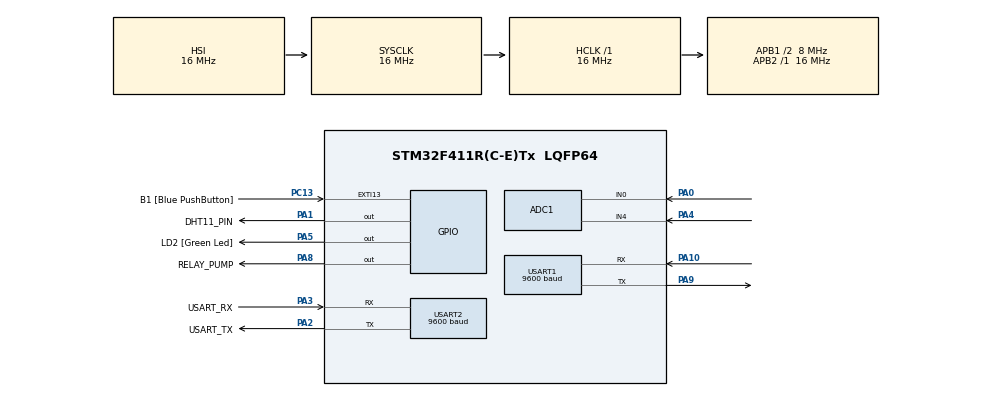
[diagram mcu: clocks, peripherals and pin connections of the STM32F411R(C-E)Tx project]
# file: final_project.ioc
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ADC1.Channel-0\#ChannelRegularConversion=ADC_CHANNEL_0
ADC1.NbrOfConversionFlag=1
ADC1.Rank-0\#ChannelRegularConversion=1
ADC1.SamplingTime-0\#ChannelRegularConversion=ADC_SAMPLETIME_3CYCLES
ADC1.master=1
Mcu.Family=STM32F4
Mcu.Name=STM32F411R(C-E)Tx
Mcu.Package=LQFP64
NVIC.PriorityGroup=NVIC_PRIORITYGROUP_0
PA0-WKUP.Signal=ADCx_IN0
PA1.GPIO_Label=DHT11_PIN
PA1.GPIO_ModeDefaultOutputPP=GPIO_MODE_OUTPUT_OD
PA1.GPIO_PuPd=GPIO_PULLUP
PA1.GPIO_Speed=GPIO_SPEED_FREQ_VERY_HIGH
PA1.PinState=GPIO_PIN_SET
PA1.Signal=GPIO_Output
PA10.Mode=Asynchronous
PA10.Signal=USART1_RX
PA13.GPIO_Label=TMS
PA13.Mode=Serial_Wire
PA13.Signal=SYS_JTMS-SWDIO
PA14.GPIO_Label=TCK
PA14.Mode=Serial_Wire
PA14.Signal=SYS_JTCK-SWCLK
PA2.GPIO_Label=USART_TX
PA2.Mode=Asynchronous
PA2.Signal=USART2_TX
PA3.GPIO_Label=USART_RX
PA3.Mode=Asynchronous
PA3.Signal=USART2_RX
PA4.Signal=ADCx_IN4
PA5.GPIO_Label=LD2 [Green Led]
PA5.Signal=GPIO_Output
PA8.GPIO_Label=RELAY_PUMP
PA8.Signal=GPIO_Output
PA9.Mode=Asynchronous
PA9.Signal=USART1_TX
PB3.GPIO_Label=SWO
PB3.Signal=SYS_JTDO-SWO
PC13-ANTI_TAMP.GPIO_Label=B1 [Blue PushButton]
PC13-ANTI_TAMP.GPIO_ModeDefaultEXTI=GPIO_MODE_IT_FALLING
PC13-ANTI_TAMP.Signal=GPXTI13
PC14-OSC32_IN.Mode=LSE-External-Oscillator
PC14-OSC32_IN.Signal=RCC_OSC32_IN
PC15-OSC32_OUT.Mode=LSE-External-Oscillator
PC15-OSC32_OUT.Signal=RCC_OSC32_OUT
PH0\ -\ OSC_IN.Signal=RCC_OSC_IN
PH1\ -\ OSC_OUT.Signal=RCC_OSC_OUT
ProjectManager.HeapSize=0x200
ProjectManager.StackSize=0x400
ProjectManager.TargetToolchain=STM32CubeIDE
RCC.48MHZClocksFreq_Value=42000000
RCC.AHBFreq_Value=16000000
RCC.APB1CLKDivider=RCC_HCLK_DIV2
RCC.APB1Freq_Value=8000000
RCC.APB1TimFreq_Value=16000000
RCC.APB2Freq_Value=16000000
RCC.APB2TimFreq_Value=16000000
RCC.CortexFreq_Value=16000000
RCC.FLatency-AdvancedSettings=FLASH_LATENCY_0
RCC.HCLKFreq_Value=16000000
RCC.HSE_VALUE=8000000
RCC.HSI_VALUE=16000000
RCC.PLLM=8
RCC.PLLN=84
RCC.SYSCLKFreq_VALUE=16000000
RCC.VCOOutputFreq_Value=168000000
SH.ADCx_IN0.0=ADC1_IN0,IN0
SH.ADCx_IN4.0=ADC1_IN4,IN4
USART1.BaudRate=9600
USART1.VirtualMode=VM_ASYNC
USART2.BaudRate=9600
USART2.VirtualMode=VM_ASYNC
board=NUCLEO-F411RE

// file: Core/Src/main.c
/* USER CODE BEGIN Header */
/**
  ******************************************************************************
  * @file           : main.c
  * @brief          : Main program body
  ******************************************************************************
  * @attention
  *
  * Copyright (c) 2025 STMicroelectronics.
  * All rights reserved.
  *
  * This software is licensed under terms that can be found in the LICENSE file
  * in the root directory of this software component.
  * If no LICENSE file comes with this software, it is provided AS-IS.
  *
  ******************************************************************************
  */
/* USER CODE END Header */
#include "main.h"

/* USER CODE BEGIN Includes */
#include <stdio.h>
#include <string.h>
/* USER CODE END Includes */

ADC_HandleTypeDef hadc1;

UART_HandleTypeDef huart1;
UART_HandleTypeDef huart2;

void SystemClock_Config(void);
static void MX_GPIO_Init(void);
static void MX_USART2_UART_Init(void);
static void MX_ADC1_Init(void);
static void MX_USART1_UART_Init(void);

/* USER CODE BEGIN 0 */

// --- ฟังก์ชันอ่าน ADC (LDR / Soil) ---
uint32_t Read_ADC(uint32_t channel) {
    ADC_ChannelConfTypeDef sConfig = {0};
    sConfig.Channel = channel;
    sConfig.Rank = 1;
    sConfig.SamplingTime = ADC_SAMPLETIME_480CYCLES; // ใช้เวลานานหน่อยเพื่อให้ค่าแม่น
    HAL_ADC_ConfigChannel(&hadc1, &sConfig);

    HAL_ADC_Start(&hadc1);
    HAL_ADC_PollForConversion(&hadc1, 100);
    uint32_t val = HAL_ADC_GetValue(&hadc1);
    HAL_ADC_Stop(&hadc1);
    return val;
}
/* USER CODE END 0 */

int main(void)
{

  /* MCU Configuration--------------------------------------------------------*/

  /* Reset of all peripherals, Initializes the Flash interface and the Systick. */
  HAL_Init();

  /* Configure the system clock */
  SystemClock_Config();

  /* Initialize all configured peripherals */
  MX_GPIO_Init();
  MX_USART2_UART_Init();
  MX_ADC1_Init();
  MX_USART1_UART_Init();
  /* USER CODE BEGIN 2 */
  CoreDebug->DEMCR |= CoreDebug_DEMCR_TRCENA_Msk;
  DWT->CYCCNT = 0;
  DWT->CTRL |= DWT_CTRL_CYCCNTENA_Msk;

//  int temp = 0, humid = 0;
    int soil_val = 0, light_val = 0;
    char uart_buffer[64]; // ตัวแปรสำหรับแพ็คข้อความ
  /* USER CODE END 2 */

  /* Infinite loop */
  /* USER CODE BEGIN WHILE */
  while (1)
  {

	      light_val = Read_ADC(ADC_CHANNEL_0);
	      soil_val = Read_ADC(ADC_CHANNEL_4);
	      int THRESHOLD = 2458; // 40%
	      	  if (soil_val < 4080){
	      		if (soil_val > THRESHOLD) {
	      			              // ถ้าดินแห้งกว่ากำหนด -> เปิดปั๊ม
	      			              HAL_GPIO_WritePin(RELAY_PUMP_GPIO_Port, RELAY_PUMP_Pin, GPIO_PIN_SET);
	      			          } else {
	      			              // ถ้าดินชุ่มแล้ว -> ปิดปั๊ม
	      			              HAL_GPIO_WritePin(RELAY_PUMP_GPIO_Port, RELAY_PUMP_Pin, GPIO_PIN_RESET);
	      			          }
	      	  }else{
	      		HAL_GPIO_WritePin(RELAY_PUMP_GPIO_Port, RELAY_PUMP_Pin, GPIO_PIN_RESET);
	      	  }

	      //S {ดิน}L{แสง}E
	      sprintf(uart_buffer, "S%dL%dE\n", soil_val, light_val);

	      HAL_UART_Transmit(&huart1, (uint8_t*)uart_buffer, strlen(uart_buffer), 100);

	      HAL_Delay(2000);
    /* USER CODE END WHILE */

  }
}

void SystemClock_Config(void)
{
  RCC_OscInitTypeDef RCC_OscInitStruct = {0};
  RCC_ClkInitTypeDef RCC_ClkInitStruct = {0};

  /** Configure the main internal regulator output voltage
  */
  __HAL_RCC_PWR_CLK_ENABLE();
  __HAL_PWR_VOLTAGESCALING_CONFIG(PWR_REGULATOR_VOLTAGE_SCALE1);

  /** Initializes the RCC Oscillators according to the specified parameters
  * in the RCC_OscInitTypeDef structure.
  */
  RCC_OscInitStruct.OscillatorType = RCC_OSCILLATORTYPE_HSI;
  RCC_OscInitStruct.HSIState = RCC_HSI_ON;
  RCC_OscInitStruct.HSICalibrationValue = RCC_HSICALIBRATION_DEFAULT;
  RCC_OscInitStruct.PLL.PLLState = RCC_PLL_NONE;
  if (HAL_RCC_OscConfig(&RCC_OscInitStruct) != HAL_OK)
  {
    Error_Handler();
  }

  /** Initializes the CPU, AHB and APB buses clocks
  */
  RCC_ClkInitStruct.ClockType = RCC_CLOCKTYPE_HCLK|RCC_CLOCKTYPE_SYSCLK
                              |RCC_CLOCKTYPE_PCLK1|RCC_CLOCKTYPE_PCLK2;
  RCC_ClkInitStruct.SYSCLKSource = RCC_SYSCLKSOURCE_HSI;
  RCC_ClkInitStruct.AHBCLKDivider = RCC_SYSCLK_DIV1;
  RCC_ClkInitStruct.APB1CLKDivider = RCC_HCLK_DIV2;
  RCC_ClkInitStruct.APB2CLKDivider = RCC_HCLK_DIV1;

  if (HAL_RCC_ClockConfig(&RCC_ClkInitStruct, FLASH_LATENCY_0) != HAL_OK)
  {
    Error_Handler();
  }
}

static void MX_ADC1_Init(void)
{

  ADC_ChannelConfTypeDef sConfig = {0};

  /** Configure the global features of the ADC (Clock, Resolution, Data Alignment and number of conversion)
  */
  hadc1.Instance = ADC1;
  hadc1.Init.ClockPrescaler = ADC_CLOCK_SYNC_PCLK_DIV2;
  hadc1.Init.Resolution = ADC_RESOLUTION_12B;
  hadc1.Init.ScanConvMode = DISABLE;
  hadc1.Init.ContinuousConvMode = DISABLE;
  hadc1.Init.DiscontinuousConvMode = DISABLE;
  hadc1.Init.ExternalTrigConvEdge = ADC_EXTERNALTRIGCONVEDGE_NONE;
  hadc1.Init.ExternalTrigConv = ADC_SOFTWARE_START;
  hadc1.Init.DataAlign = ADC_DATAALIGN_RIGHT;
  hadc1.Init.NbrOfConversion = 1;
  hadc1.Init.DMAContinuousRequests = DISABLE;
  hadc1.Init.EOCSelection = ADC_EOC_SINGLE_CONV;
  if (HAL_ADC_Init(&hadc1) != HAL_OK)
  {
    Error_Handler();
  }

  /** Configure for the selected ADC regular channel its corresponding rank in the sequencer and its sample time.
  */
  sConfig.Channel = ADC_CHANNEL_0;
  sConfig.Rank = 1;
  sConfig.SamplingTime = ADC_SAMPLETIME_3CYCLES;
  if (HAL_ADC_ConfigChannel(&hadc1, &sConfig) != HAL_OK)
  {
    Error_Handler();
  }

}

static void MX_USART1_UART_Init(void)
{

  huart1.Instance = USART1;
  huart1.Init.BaudRate = 9600;
  huart1.Init.WordLength = UART_WORDLENGTH_8B;
  huart1.Init.StopBits = UART_STOPBITS_1;
  huart1.Init.Parity = UART_PARITY_NONE;
  huart1.Init.Mode = UART_MODE_TX_RX;
  huart1.Init.HwFlowCtl = UART_HWCONTROL_NONE;
  huart1.Init.OverSampling = UART_OVERSAMPLING_16;
  if (HAL_UART_Init(&huart1) != HAL_OK)
  {
    Error_Handler();
  }

}

static void MX_USART2_UART_Init(void)
{

  huart2.Instance = USART2;
  huart2.Init.BaudRate = 9600;
  huart2.Init.WordLength = UART_WORDLENGTH_8B;
  huart2.Init.StopBits = UART_STOPBITS_1;
  huart2.Init.Parity = UART_PARITY_NONE;
  huart2.Init.Mode = UART_MODE_TX_RX;
  huart2.Init.HwFlowCtl = UART_HWCONTROL_NONE;
  huart2.Init.OverSampling = UART_OVERSAMPLING_16;
  if (HAL_UART_Init(&huart2) != HAL_OK)
  {
    Error_Handler();
  }

}

static void MX_GPIO_Init(void)
{
  GPIO_InitTypeDef GPIO_InitStruct = {0};

  /* GPIO Ports Clock Enable */
  __HAL_RCC_GPIOC_CLK_ENABLE();
  __HAL_RCC_GPIOH_CLK_ENABLE();
  __HAL_RCC_GPIOA_CLK_ENABLE();
  __HAL_RCC_GPIOB_CLK_ENABLE();

  /*Configure GPIO pin Output Level */
  HAL_GPIO_WritePin(DHT11_PIN_GPIO_Port, DHT11_PIN_Pin, GPIO_PIN_SET);

  /*Configure GPIO pin Output Level */
  HAL_GPIO_WritePin(GPIOA, LD2_Pin|RELAY_PUMP_Pin, GPIO_PIN_RESET);

  /*Configure GPIO pin : B1_Pin */
  GPIO_InitStruct.Pin = B1_Pin;
  GPIO_InitStruct.Mode = GPIO_MODE_IT_FALLING;
  GPIO_InitStruct.Pull = GPIO_NOPULL;
  HAL_GPIO_Init(B1_GPIO_Port, &GPIO_InitStruct);

  /*Configure GPIO pin : DHT11_PIN_Pin */
  GPIO_InitStruct.Pin = DHT11_PIN_Pin;
  GPIO_InitStruct.Mode = GPIO_MODE_OUTPUT_OD;
  GPIO_InitStruct.Pull = GPIO_PULLUP;
  GPIO_InitStruct.Speed = GPIO_SPEED_FREQ_VERY_HIGH;
  HAL_GPIO_Init(DHT11_PIN_GPIO_Port, &GPIO_InitStruct);

  /*Configure GPIO pins : LD2_Pin RELAY_PUMP_Pin */
  GPIO_InitStruct.Pin = LD2_Pin|RELAY_PUMP_Pin;
  GPIO_InitStruct.Mode = GPIO_MODE_OUTPUT_PP;
  GPIO_InitStruct.Pull = GPIO_NOPULL;
  GPIO_InitStruct.Speed = GPIO_SPEED_FREQ_LOW;
  HAL_GPIO_Init(GPIOA, &GPIO_InitStruct);

}

void Error_Handler(void)
{
  __disable_irq();
  while (1)
  {
  }
}
